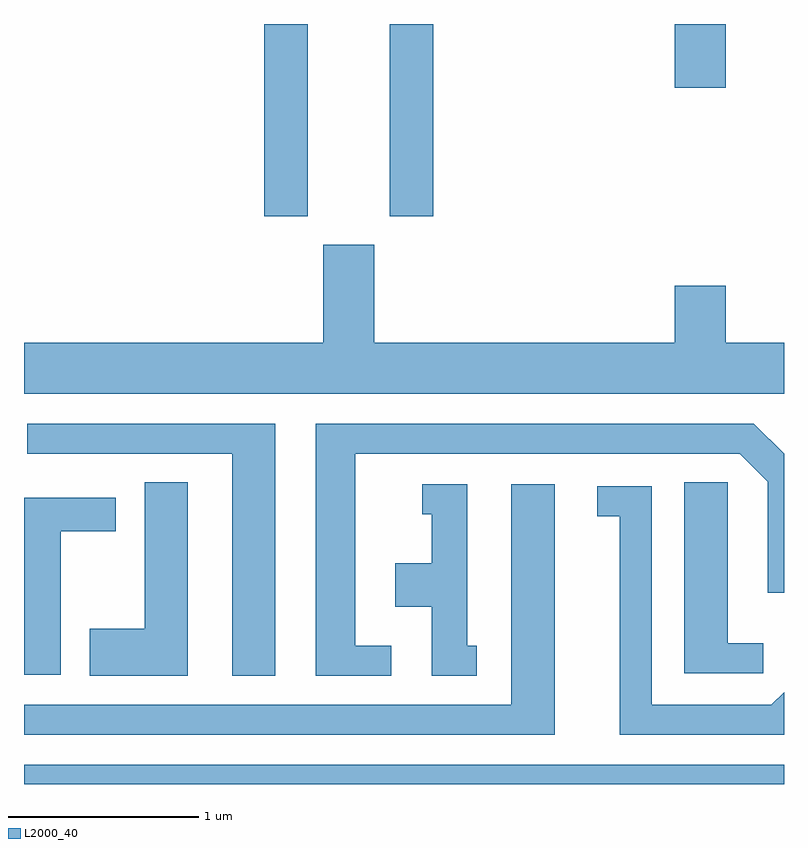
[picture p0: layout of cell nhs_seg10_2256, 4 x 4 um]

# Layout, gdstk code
import gdstk
lib = gdstk.Library(unit=1e-6, precision=1e-09)
def R(c, l, rs):  # rectangles x0, y0, x1, y1
    for r in rs: c.add(gdstk.rectangle(r[:2], r[2:], *l))
def P(c, l, *ps):  # polygons
    for p in ps: c.add(gdstk.Polygon(p, *l))
L2000_40 = (2000, 40)

nhs_seg10_2256 = lib.new_cell('nhs_seg10_2256')
R(nhs_seg10_2256, L2000_40, [(251.611,2118.522,255.611,2118.624), (252.876,2121.511,253.104,2122.522), (253.536,2121.511,253.764,2122.522), (255.036,2122.186,255.304,2122.522)])
P(nhs_seg10_2256, L2000_40, [(255.611,2120.844),(255.304,2120.844),(255.304,2121.144),(255.036,2121.144),(255.036,2120.844),(253.454,2120.844),(253.454,2121.359),(253.186,2121.359),(253.186,2120.844),(251.611,2120.844),(251.611,2120.576),(255.611,2120.576)],
  [(253.543,2119.249),(253.354,2119.249),(253.354,2120.261),(255.379,2120.261),(255.526,2120.114),(255.526,2119.528),(255.611,2119.528),(255.611,2120.26),(255.452,2120.419),(253.146,2120.419),(253.146,2119.091),(253.543,2119.091)],
  [(252.934,2120.419),(251.628,2120.419),(251.628,2120.261),(252.706,2120.261),(252.706,2119.091),(252.934,2119.091)],
  [(252.474,2120.109),(252.246,2120.109),(252.246,2119.339),(251.956,2119.339),(251.956,2119.091),(252.474,2119.091)],
  [(255.503,2119.264),(255.314,2119.264),(255.314,2120.109),(255.086,2120.109),(255.086,2119.106),(255.503,2119.106)],
  [(253.993,2119.249),(253.944,2119.249),(253.944,2120.099),(253.708,2120.099),(253.708,2119.941),(253.756,2119.941),(253.756,2119.684),(253.566,2119.684),(253.566,2119.456),(253.756,2119.456),(253.756,2119.091),(253.993,2119.091)],
  [(254.404,2120.099),(254.176,2120.099),(254.176,2118.939),(251.611,2118.939),(251.611,2118.781),(254.404,2118.781)],
  [(255.611,2119.006),(255.544,2118.939),(254.914,2118.939),(254.914,2120.089),(254.628,2120.089),(254.628,2119.931),(254.746,2119.931),(254.746,2118.781),(255.611,2118.781)],
  [(251.804,2119.851),(252.094,2119.851),(252.094,2120.029),(251.611,2120.029),(251.611,2119.096),(251.804,2119.096)])

lib.write_gds('nhs_seg10_2256.gds')
